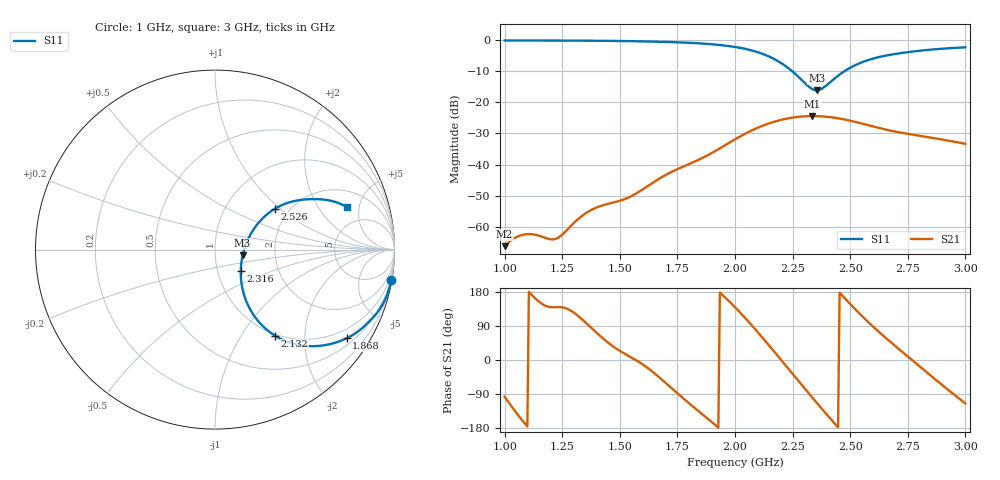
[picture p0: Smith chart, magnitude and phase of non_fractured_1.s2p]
! TOUCHSTONE file generated by CST MICROWAVE STUDIO
! Date and time: Sat Mar  8 13:53:52 2025
! Project name: non_fractured.cst
! Parameters = {B=2.5; D=160; F=5; Feed=2.85625; L=100; M=5; R=0.384908; S=1; Theta=0; length=57.125; wave=114.25}
! Header version: 2024
! Port assignment regex: !\s*Touchstone port\s*([0-9]+)\s*=\s*(CST MWS port|CST DES external port|CST DES block port)\s*(.+)\s* \(\"(.*)\"\)(\s*mode\s*([0-9]+))?.*
! Touchstone port assignment:
! Touchstone port 1 = CST MWS port 1 ("")
! Touchstone port 2 = CST MWS port 2 ("")
# GHz S DB R 50
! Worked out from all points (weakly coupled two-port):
!   305 points, 1 GHz to 3 GHz, reference 50 ohm
!   highest |S21| = -24.40 dB at 2.336 GHz (marker M1); lowest = -66.3 dB at 1 GHz (marker M2)
!   lowest |S11| = -16.1 dB at 2.355 GHz (marker M3), VSWR 1.37, Z = 68 - j4.4 ohm
!   |S11| at or under -10 dB: 2.249 GHz to 2.474 GHz (224.2 MHz wide, 9.49 % of centre)
!   S12 and S22 are empty: the file has one direction only
!   S11 on the Smith chart (normalised r, x): 1 GHz: 0, -12; 1.868 GHz: 0.69, -3.14; 2.132 GHz: 0.98, -1.42; 2.316 GHz: 1.29, -0.32; 2.526 GHz: 1.69, +0.93; 3 GHz: 3.21, +3.78
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1  -0.02 -9.8  -66.32 -97.0  -200.00 0.0  -200.00 0.0
1.04605  -0.02 -10.5  -63.59 -135.5  -200.00 0.0  -200.00 0.0
1.09211  -0.03 -11.1  -62.50 -170.8  -200.00 0.0  -200.00 0.0
1.13158  -0.04 -11.7  -62.62 163.3  -200.00 0.0  -200.00 0.0
1.19737  -0.05 -12.8  -64.08 139.7  -200.00 0.0  -200.00 0.0
1.22368  -0.05 -13.2  -63.91 139.4  -200.00 0.0  -200.00 0.0
1.33553  -0.08 -15.4  -56.59 107.7  -200.00 0.0  -200.00 0.0
1.40132  -0.12 -16.8  -53.79 70.8  -200.00 0.0  -200.00 0.0
1.54605  -0.24 -20.6  -50.36 8.2  -200.00 0.0  -200.00 0.0
1.67105  -0.44 -24.6  -44.57 -45.6  -200.00 0.0  -200.00 0.0
1.86842  -1.06 -33.9  -37.52 -148.0  -200.00 0.0  -200.00 0.0
2  -2.12 -43.3  -31.89 139.4  -200.00 0.0  -200.00 0.0
2.13158  -4.68 -55.2  -27.17 50.1  -200.00 0.0  -200.00 0.0
2.22368  -8.49 -59.5  -25.22 -17.1  -200.00 0.0  -200.00 0.0
2.31579  -14.62 -39.3  -24.43 -84.7  -200.00 0.0  -200.00 0.0
2.33553  -15.69 -26.7  -24.40 -99.1  -200.00 0.0  -200.00 0.0
2.35526  -16.07 -11.6  -24.42 -113.3  -200.00 0.0  -200.00 0.0
2.38158  -15.34 7.4  -24.52 -132.1  -200.00 0.0  -200.00 0.0
2.44737  -11.38 30.5  -25.11 -177.7  -200.00 0.0  -200.00 0.0
2.52632  -7.83 34.3  -26.33 131.1  -200.00 0.0  -200.00 0.0
2.67105  -4.68 28.7  -29.02 49.5  -200.00 0.0  -200.00 0.0
3  -2.23 17.8  -33.31 -114.6  -200.00 0.0  -200.00 0.0
